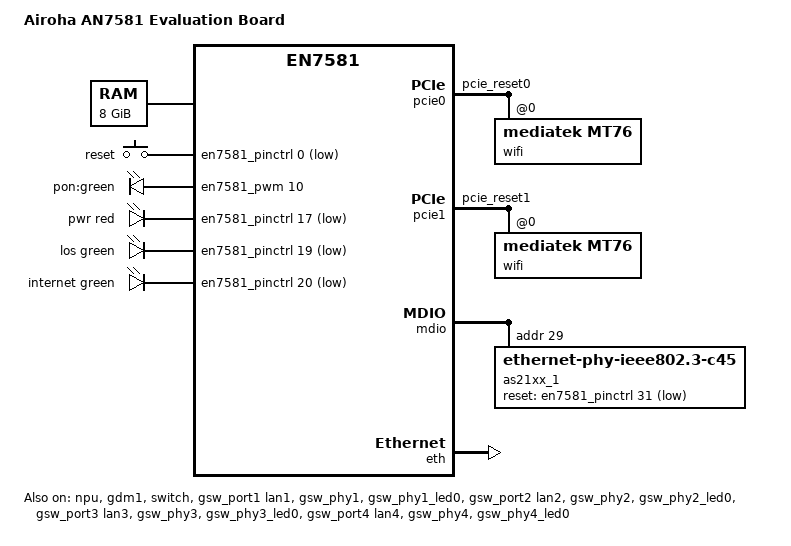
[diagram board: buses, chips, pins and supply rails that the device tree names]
// SPDX-License-Identifier: (GPL-2.0-only OR BSD-2-Clause)
/dts-v1/;

/* Bootloader installs ATF here */
/memreserve/ 0x80000000 0x200000;

#include <dt-bindings/leds/common.h>
#include <dt-bindings/gpio/gpio.h>
#include <dt-bindings/input/input.h>
#include "an7581.dtsi"

/ {
	model = "Airoha AN7581 Evaluation Board";
	compatible = "airoha,an7581-evb", "airoha,an7581", "airoha,en7581";

	aliases {
		serial0 = &uart1;
	};

	chosen {
		bootargs = "console=ttyS0,115200 earlycon";
		stdout-path = "serial0:115200n8";
		linux,usable-memory-range = <0x0 0x80200000 0x0 0x1fe00000>;
	};

	memory@80000000 {
		device_type = "memory";
		reg = <0x0 0x80000000 0x2 0x00000000>;
	};

	gpio-keys-polled {
		compatible = "gpio-keys-polled";
		poll-interval = <100>;
		btn0 {
			label = "reset";
			linux,code = <KEY_RESTART>;
			gpios = <&en7581_pinctrl 0 GPIO_ACTIVE_LOW>;
		};
	};

	pwmleds {
		compatible = "pwm-leds";
		pinctrl-names = "default";
		pinctrl-0 = <&pwm_gpio18_idx10_pins>;
		lan4_green {
			label = "pon:green";
			pwms = <&en7581_pwm 10 4000000 0>;
			max-brightness = <255>;
			active-low;
		};
	};


	leds {
		compatible = "gpio-leds";

		pwr_led: led-0 {
			label = "pwr";
			color = <LED_COLOR_ID_RED>;
			function = LED_FUNCTION_POWER;
			gpios = <&en7581_pinctrl 17 GPIO_ACTIVE_LOW>;
			default-state = "on";
		};

		los_led: led-2 {
			label = "los";
			color = <LED_COLOR_ID_GREEN>;
			function = LED_FUNCTION_STATUS;
			gpios = <&en7581_pinctrl 19 GPIO_ACTIVE_LOW>;
			default-state = "on";
		};

		internet_led: led-3 {
			label = "internet";
			color = <LED_COLOR_ID_GREEN>;
			function = LED_FUNCTION_STATUS;
			gpios = <&en7581_pinctrl 20 GPIO_ACTIVE_LOW>;
			default-state = "on";
		};
	};
};

&i2c0 {
	status = "disabled";

	wm8960: codec@1a {
		compatible = "wlf,wm8960";
		reg = <0x1a>;
	};
};

&afe {
	status = "disabled";
};

&sound {
	audio-routing = "Headphone", "HP_L",
			"Headphone", "HP_R",
			"LINPUT1", "AMIC",
			"RINPUT1", "AMIC";

	status = "disabled";

	codec {
		sound-dai = <&wm8960>;
	};
};

&en7581_pinctrl {
	gpio-ranges = <&en7581_pinctrl 0 13 50>;

	mdio_pins: mdio-pins {
		mux {
			function = "mdio";
			groups = "mdio";
		};

		conf {
			pins = "gpio2";
			output-high;
		};
	};

	pcie0_rst_pins: pcie0-rst-pins {
		conf {
			pins = "pcie_reset0";
			drive-open-drain = <1>;
		};
	};

	pcie1_rst_pins: pcie1-rst-pins {
		conf {
			pins = "pcie_reset1";
			drive-open-drain = <1>;
		};
	};

	gswp1_led0_pins: gswp1-led0-pins {
		mux {
			function = "phy1_led0";
			pins = "gpio33";
		};
	};

	gswp2_led0_pins: gswp2-led0-pins {
		mux {
			function = "phy2_led0";
			pins = "gpio34";
		};
	};

	gswp3_led0_pins: gswp3-led0-pins {
		mux {
			function = "phy3_led0";
			pins = "gpio35";
		};
	};

	gswp4_led0_pins: gswp4-led0-pins {
		mux {
			function = "phy4_led0";
			pins = "gpio42";
		};
	};

	pwm_gpio18_idx10_pins: pwm-gpio18-idx10-pins {
		function = "pwm";
		pins = "gpio18";
		output-enable;
	};

	mmc_pins: mmc-pins {
		mux {
			function = "emmc";
			groups = "emmc";
		};
	};
};

&snfi {
	status = "disabled";
};

&spi_nand {
	partitions {
		compatible = "fixed-partitions";
		#address-cells = <1>;
		#size-cells = <1>;

		bl2@0 {
			label = "bl2";
			reg = <0x0 0x20000>;
		};

		ubi@20000 {
			label = "ubi";
			reg = <0x20000 0x0>;
		};
	};
};

&mmc0 {
	pinctrl-names = "default", "state_uhs";
	pinctrl-0 = <&mmc_pins>;
	pinctrl-1 = <&mmc_pins>;
	status = "disabled";

	#address-cells = <1>;
	#size-cells = <0>;

	card@0 {
		compatible = "mmc-card";
		reg = <0>;

		partitions {
			compatible = "fixed-partitions";
			#address-cells = <1>;
			#size-cells = <1>;

			bootloader@0 {
				label = "bootloader";
				reg = <0x00000000 0x00080000>;
			};

			tclinux@80000 {
				label = "tclinux";
				reg = <0x00080000 0x02800000>;
			};

			tclinux_slave@2880000 {
				label = "tclinux_slave";
				reg = <0x02880000 0x02800000>;
			};

			rootfs_data@5080000 {
				label = "rootfs_data";
				reg = <0x5080000 0x00800000>;
			};
		};
	};
};

&pcie0 {
	pinctrl-names = "default";
	pinctrl-0 = <&pcie0_rst_pins>;
	status = "okay";

	pcie@0,0 {
		reg = <0x0000 0 0 0 0>;
		wifi@0,0 {
			compatible = "mediatek,mt76";
			reg = <0x0000 0 0 0 0>;
			airoha,npu = <&npu>;
			airoha,eth = <&eth>;
		};
	};
};

&pcie1 {
	pinctrl-names = "default";
	pinctrl-0 = <&pcie1_rst_pins>;
	status = "okay";

	pcie@1,0 {
		reg = <0x0000 0 0 0 0>;
		wifi@0,0 {
			compatible = "mediatek,mt76";
			reg = <0x0000 0 0 0 0>;
			airoha,npu = <&npu>;
			airoha,eth = <&eth>;
		};
	};
};

&mdio {
	as21xx_1: ethernet-phy@1d {
		compatible = "ethernet-phy-ieee802.3-c45";
		reg = <0x1d>;

		firmware-name = "as21x1x_fw.bin";

		reset-deassert-us = <1000000>;
		reset-assert-us = <1000000>;
		reset-gpios = <&en7581_pinctrl 31 GPIO_ACTIVE_LOW>;

		leds {
			#address-cells = <1>;
			#size-cells = <0>;

			led@0 {
				reg = <0>;
				color = <LED_COLOR_ID_GREEN>;
				function = LED_FUNCTION_LAN;
				function-enumerator = <0>;
				default-state = "keep";
			};

			led@1 {
				reg = <1>;
				color = <LED_COLOR_ID_GREEN>;
				function = LED_FUNCTION_LAN;
				function-enumerator = <1>;
				default-state = "keep";
			};
		};
	};
};
&npu {
	status = "okay";
};

&eth {
	status = "okay";
};

&gdm1 {
	status = "okay";
};

&gdm4 {
	status = "disabled";

	managed = "in-band-status";
	phy-handle = <&as21xx_1>;
	phy-mode = "usxgmii";
};

&switch {
	pinctrl-names = "default";
	pinctrl-0 = <&mdio_pins>;
	status = "okay";
};

&gsw_port1 {
	status = "okay";
	label = "lan1";
};

&gsw_phy1 {
	pinctrl-names = "gbe-led";
	pinctrl-0 = <&gswp1_led0_pins>;
	status = "okay";
};

&gsw_phy1_led0 {
	status = "okay";
	function = LED_FUNCTION_LAN;
};

&gsw_port2 {
	status = "okay";
	label = "lan2";
};

&gsw_phy2 {
	pinctrl-names = "gbe-led";
	pinctrl-0 = <&gswp2_led0_pins>;
	status = "okay";
};

&gsw_phy2_led0 {
	status = "okay";
	function = LED_FUNCTION_LAN;
};

&gsw_port3 {
	status = "okay";
	label = "lan3";
};

&gsw_phy3 {
	pinctrl-names = "gbe-led";
	pinctrl-0 = <&gswp3_led0_pins>;
	status = "okay";
};

&gsw_phy3_led0 {
	status = "okay";
	function = LED_FUNCTION_LAN;
};

&gsw_port4 {
	status = "okay";
	label = "lan4";
};

&gsw_phy4 {
	pinctrl-names = "gbe-led";
	pinctrl-0 = <&gswp4_led0_pins>;
	status = "okay";
};

&gsw_phy4_led0 {
	status = "okay";
	function = LED_FUNCTION_LAN;
};
